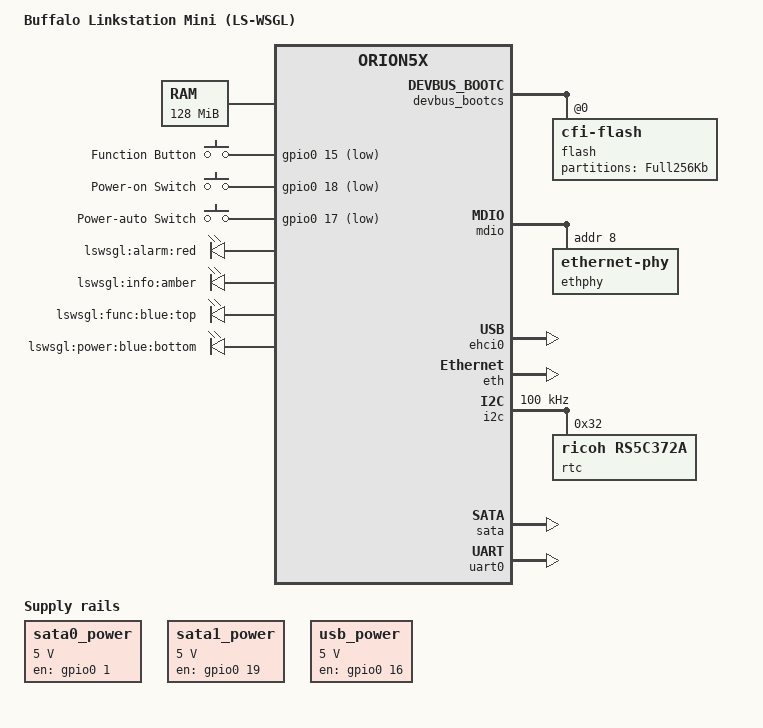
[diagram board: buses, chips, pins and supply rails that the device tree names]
/*
 * Copyright (C) 2015 Benjamin Cama <benoar@dolka.fr>
 * Copyright (C) 2014 Thomas Petazzoni <thomas.petazzoni@free-electrons.com>
 * Based on the board file arch/arm/mach-orion5x/lsmini-setup.c,
 * Copyright (C) 2008 Alexey Kopytko <alexey@kopytko.ru>
 *
 * This file is dual-licensed: you can use it either under the terms
 * of the GPL or the X11 license, at your option. Note that this dual
 * licensing only applies to this file, and not this project as a
 * whole.
 *
 *  a) This file is free software; you can redistribute it and/or
 *     modify it under the terms of the GNU General Public License as
 *     published by the Free Software Foundation; either version 2 of the
 *     License, or (at your option) any later version.
 *
 *     This file is distributed in the hope that it will be useful
 *     but WITHOUT ANY WARRANTY; without even the implied warranty of
 *     MERCHANTABILITY or FITNESS FOR A PARTICULAR PURPOSE.  See the
 *     GNU General Public License for more details.
 *
 * Or, alternatively
 *
 *  b) Permission is hereby granted, free of charge, to any person
 *     obtaining a copy of this software and associated documentation
 *     files (the "Software"), to deal in the Software without
 *     restriction, including without limitation the rights to use
 *     copy, modify, merge, publish, distribute, sublicense, and/or
 *     sell copies of the Software, and to permit persons to whom the
 *     Software is furnished to do so, subject to the following
 *     conditions:
 *
 *     The above copyright notice and this permission notice shall be
 *     included in all copies or substantial portions of the Software.
 *
 *     THE SOFTWARE IS PROVIDED , WITHOUT WARRANTY OF ANY KIND
 *     EXPRESS OR IMPLIED, INCLUDING BUT NOT LIMITED TO THE WARRANTIES
 *     OF MERCHANTABILITY, FITNESS FOR A PARTICULAR PURPOSE AND
 *     NONINFRINGEMENT. IN NO EVENT SHALL THE AUTHORS OR COPYRIGHT
 *     HOLDERS BE LIABLE FOR ANY CLAIM, DAMAGES OR OTHER LIABILITY
 *     WHETHER IN AN ACTION OF CONTRACT, TORT OR OTHERWISE, ARISING
 *     FROM, OUT OF OR IN CONNECTION WITH THE SOFTWARE OR THE USE OR
 *     OTHER DEALINGS IN THE SOFTWARE.
 */

/dts-v1/;

#include <dt-bindings/gpio/gpio.h>
#include <dt-bindings/input/input.h>
#include <dt-bindings/interrupt-controller/irq.h>
#include "orion5x-mv88f5182.dtsi"

/ {
	model = "Buffalo Linkstation Mini (LS-WSGL)";
	compatible = "buffalo,lswsgl", "marvell,orion5x-88f5182", "marvell,orion5x";

	memory {
		reg = <0x00000000 0x8000000>; /* 128 MB */
	};

	chosen {
		bootargs = "console=ttyS0,115200 earlyprintk";
		linux,stdout-path = &uart0;
	};

	soc {
		ranges = <MBUS_ID(0xf0, 0x01) 0 0xf1000000 0x100000>,
			 <MBUS_ID(0x09, 0x00) 0 0xf2200000 0x800>,
			 <MBUS_ID(0x01, 0x0f) 0 0xf4000000 0x40000>;
	};

	gpio-keys {
		compatible = "gpio-keys";
		pinctrl-0 = <&pmx_buttons>;
		pinctrl-names = "default";
		#address-cells = <1>;
		#size-cells = <0>;
		func {
			label = "Function Button";
			linux,code = <KEY_OPTION>;
			gpios = <&gpio0 15 GPIO_ACTIVE_LOW>;
		};

		power {
			label = "Power-on Switch";
			linux,input-type = <5>; /* EV_SW */
			linux,code = <KEY_RESERVED>; /* LSMINI_SW_POWER */
			gpios = <&gpio0 18 GPIO_ACTIVE_LOW>;
		};

		autopower {
			label = "Power-auto Switch";
			linux,input-type = <5>; /* EV_SW */
			linux,code = <KEY_ESC>; /* LSMINI_SW_AUTOPOWER */
			gpios = <&gpio0 17 GPIO_ACTIVE_LOW>;
		};
	};

	gpio-leds {
		compatible = "gpio-leds";
		pinctrl-0 = <&pmx_led_alarm &pmx_led_info &pmx_led_func
			     &pmx_led_power>;
		pinctrl-names = "default";

		alarm {
			label = "lswsgl:alarm:red";
			gpio = <&gpio0 2 GPIO_ACTIVE_LOW>;
		};

		info {
			label = "lswsgl:info:amber";
			gpio = <&gpio0 3 GPIO_ACTIVE_LOW>;
		};

		func {
			label = "lswsgl:func:blue:top";
			gpio = <&gpio0 9 GPIO_ACTIVE_LOW>;
		};

		power {
			label = "lswsgl:power:blue:bottom";
			gpio = <&gpio0 14 GPIO_ACTIVE_LOW>;
			default-state = "on";
		};
	};

	restart_poweroff {
		compatible = "restart-poweroff";
	};

	regulators {
		compatible = "simple-bus";
		#address-cells = <1>;
		#size-cells = <0>;
		pinctrl-0 = <&pmx_sata0_power &pmx_sata1_power &pmx_usb_power>;
		pinctrl-names = "default";

		sata0_power: regulator@0 {
			compatible = "regulator-fixed";
			reg = <0>;
			regulator-name = "SATA0 Power";
			regulator-min-microvolt = <5000000>;
			regulator-max-microvolt = <5000000>;
			enable-active-high;
			regulator-always-on;
			regulator-boot-on;
			gpio = <&gpio0 1 GPIO_ACTIVE_HIGH>;
		};

		sata1_power: regulator@1 {
			compatible = "regulator-fixed";
			reg = <1>;
			regulator-name = "SATA1 Power";
			regulator-min-microvolt = <5000000>;
			regulator-max-microvolt = <5000000>;
			enable-active-high;
			regulator-always-on;
			regulator-boot-on;
			gpio = <&gpio0 19 GPIO_ACTIVE_HIGH>;
		};

		usb_power: regulator@2 {
			compatible = "regulator-fixed";
			reg = <2>;
			regulator-name = "USB Power";
			regulator-min-microvolt = <5000000>;
			regulator-max-microvolt = <5000000>;
			enable-active-high;
			regulator-always-on;
			regulator-boot-on;
			gpio = <&gpio0 16 GPIO_ACTIVE_HIGH>;
		};
	};
};

&devbus_bootcs {
	status = "okay";

	devbus,keep-config;

	flash@0 {
		compatible = "cfi-flash";
		reg = <0 0x40000>;
		bank-width = <1>;
		#address-cells = <1>;
		#size-cells = <1>;

		partition@0 {
			label = "Full256Kb";
			reg = <0 0x40000>;
			read-only;
		};
	};
};

&mdio {
	status = "okay";

	ethphy: ethernet-phy {
		reg = <8>;
	};
};

&ehci0 {
	status = "okay";
};

&eth {
	status = "okay";

	ethernet-port@0 {
		phy-handle = <&ethphy>;
	};
};

&i2c {
	status = "okay";
	clock-frequency = <100000>;
	#address-cells = <1>;

	rtc@32 {
		compatible = "ricoh,rs5c372a";
		reg = <0x32>;
	};
};

&pinctrl {
	pmx_buttons: pmx-buttons {
		marvell,pins = "mpp15", "mpp17", "mpp18";
		marvell,function = "gpio";
	};

	pmx_led_alarm: pmx-leds {
		marvell,pins = "mpp2";
		marvell,function = "gpio";
	};

	pmx_led_info: pmx-leds {
		marvell,pins = "mpp3";
		marvell,function = "gpio";
	};

	pmx_led_func: pmx-leds {
		marvell,pins = "mpp9";
		marvell,function = "gpio";
	};

	pmx_led_power: pmx-leds {
		marvell,pins = "mpp14";
		marvell,function = "gpio";
	};

	pmx_sata0_power: pmx-sata0-power {
		marvell,pins = "mpp1";
		marvell,function = "gpio";
	};

	pmx_sata1_power: pmx-sata1-power {
		marvell,pins = "mpp19";
		marvell,function = "gpio";
	};

	pmx_usb_power: pmx-usb-power {
		marvell,pins = "mpp16";
		marvell,function = "gpio";
	};
};

&sata {
	status = "okay";
	nr-ports = <2>;
};

&uart0 {
	status = "okay";
};
